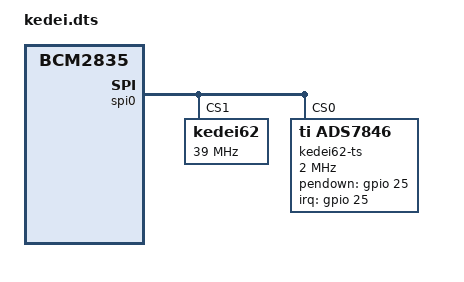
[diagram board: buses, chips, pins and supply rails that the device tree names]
/dts-v1/;
/plugin/;

/ {
    compatible = "brcm,bcm2835";

	fragment@0 {
		target = <&spi0>;
		__overlay__ {
			status = "okay";

			spidev@0{
				status = "disabled";
			};

			spidev@1{
				status = "disabled";
			};
		};
	};

    fragment@1 {
		target = <&gpio>;
		__overlay__ {
			kedei62_pins: kedei62_pins {
				brcm,pins = <25>;
				brcm,function = <0>; //in
			};
		};
	};

	fragment@2 {
		target = <&spi0>;
		__overlay__ {
			/* needed to avoid dtc warning */
			#address-cells = <1>;
			#size-cells = <0>;

			kedei62: kedei62@1{
				compatible = "kedei62";
				reg = <1>;

				spi-max-frequency = <39000000>;
				rotate = <0>;
				bgr;
				fps = <1>;
				buswidth = <8>;
				regwidth = <8>;
				debug = <0>;
			};

			kedei62-ts@0 {
				compatible = "ti,ads7846";
				reg = <0>;

				spi-max-frequency = <2000000>;
				interrupts = <25 2>; // high-to-low edge triggered
				interrupt-parent = <&gpio>;
				pendown-gpio = <&gpio 25 0>;
				ti,x-plate-ohms = /bits/ 16 <60>;
				ti,pressure-max = /bits/ 16 <255>;
			};

		};
	};
	__overrides__ {
		speed =		<&kedei62>,"spi-max-frequency:0";
		rotate =	<&kedei62>,"rotate:0";
		fps =		<&kedei62>,"fps:0";
		debug =		<&kedei62>,"debug:0";
	};

};
